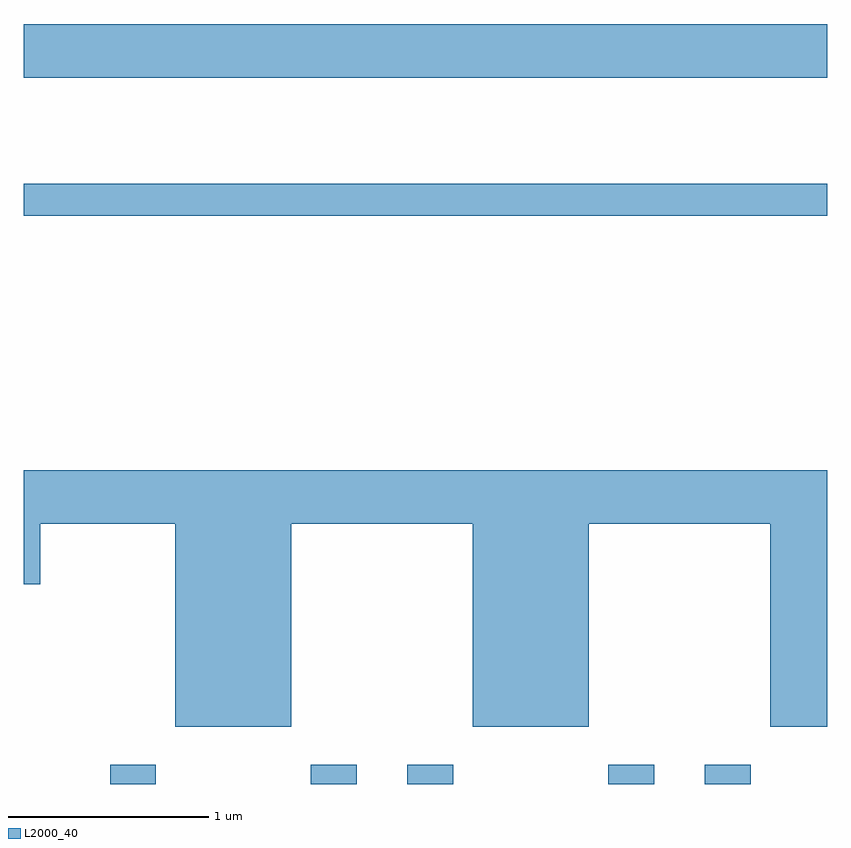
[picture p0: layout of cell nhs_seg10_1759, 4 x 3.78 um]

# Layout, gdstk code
import gdstk
lib = gdstk.Library(unit=1e-6, precision=1e-09)
def R(c, l, rs):  # rectangles x0, y0, x1, y1
    for r in rs: c.add(gdstk.rectangle(r[:2], r[2:], *l))
def P(c, l, *ps):  # polygons
    for p in ps: c.add(gdstk.Polygon(p, *l))
L2000_40 = (2000, 40)

nhs_seg10_1759 = lib.new_cell('nhs_seg10_1759')
R(nhs_seg10_1759, L2000_40, [(236.041,2212.522,236.269,2212.619), (237.041,2212.522,237.269,2212.619), (237.521,2212.522,237.749,2212.619), (238.521,2212.522,238.749,2212.619), (239.001,2212.522,239.229,2212.619), (235.611,2215.351,239.611,2215.509), (235.611,2216.036,239.611,2216.304)])
P(nhs_seg10_1759, L2000_40, [(236.944,2213.816),(237.846,2213.816),(237.846,2212.806),(238.424,2212.806),(238.424,2213.816),(239.326,2213.816),(239.326,2212.806),(239.611,2212.806),(239.611,2214.084),(235.611,2214.084),(235.611,2213.516),(235.694,2213.516),(235.694,2213.816),(236.366,2213.816),(236.366,2212.806),(236.944,2212.806)])

lib.write_gds('nhs_seg10_1759.gds')
